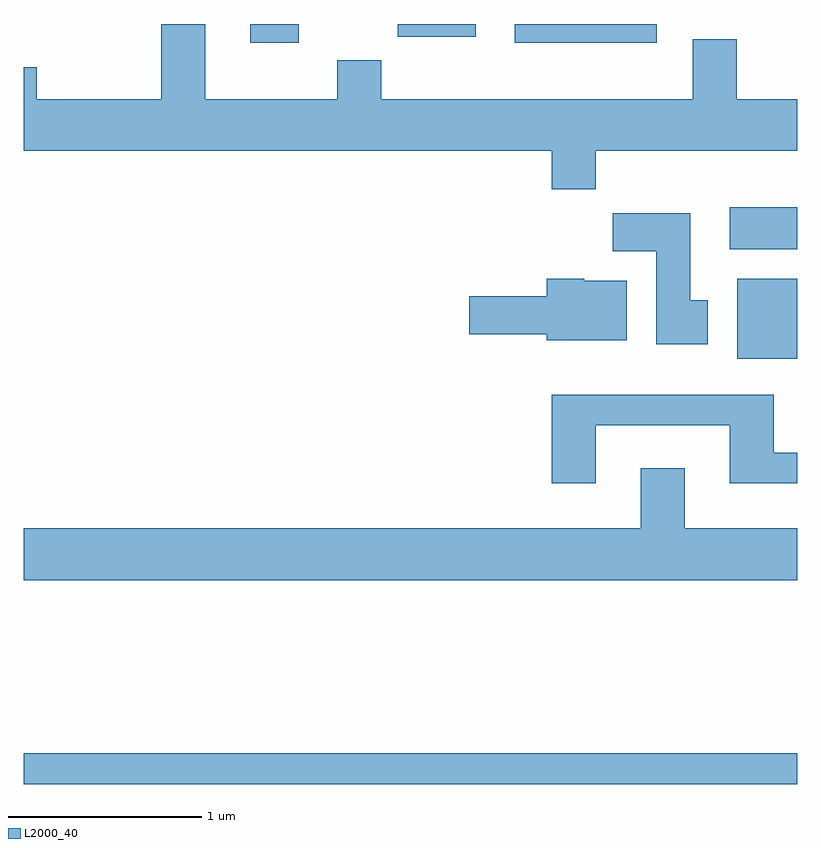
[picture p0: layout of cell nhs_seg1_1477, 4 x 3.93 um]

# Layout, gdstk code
import gdstk
lib = gdstk.Library(unit=1e-6, precision=1e-09)
def R(c, l, rs):  # rectangles x0, y0, x1, y1
    for r in rs: c.add(gdstk.rectangle(r[:2], r[2:], *l))
def P(c, l, *ps):  # polygons
    for p in ps: c.add(gdstk.Polygon(p, *l))
L2000_40 = (2000, 40)

nhs_seg1_1477 = lib.new_cell('nhs_seg1_1477')
R(nhs_seg1_1477, L2000_40, [(229.611,971.781,233.611,971.939), (233.301,973.981,233.611,974.394), (233.261,974.546,233.611,974.764), (230.781,975.616,231.034,975.712), (232.151,975.616,232.884,975.712), (231.546,975.646,231.949,975.712)])
P(nhs_seg1_1477, L2000_40, [(232.569,975.056),(233.611,975.056),(233.611,975.324),(233.299,975.324),(233.299,975.634),(233.071,975.634),(233.071,975.324),(231.459,975.324),(231.459,975.524),(231.231,975.524),(231.231,975.324),(230.549,975.324),(230.549,975.712),(230.321,975.712),(230.321,975.324),(229.679,975.324),(229.679,975.489),(229.611,975.489),(229.611,975.056),(232.341,975.056),(232.341,974.856),(232.569,974.856)],
  [(233.149,974.284),(233.059,974.284),(233.059,974.734),(232.656,974.734),(232.656,974.536),(232.881,974.536),(232.881,974.056),(233.149,974.056)],
  [(232.729,974.384),(232.51,974.384),(232.51,974.394),(232.316,974.394),(232.316,974.304),(231.916,974.304),(231.916,974.106),(232.316,974.106),(232.316,974.076),(232.729,974.076)],
  [(232.569,973.636),(233.261,973.636),(233.261,973.336),(233.611,973.336),(233.611,973.494),(233.489,973.494),(233.489,973.794),(232.341,973.794),(232.341,973.336),(232.569,973.336)],
  [(233.611,973.104),(233.029,973.104),(233.029,973.414),(232.801,973.414),(232.801,973.104),(229.611,973.104),(229.611,972.836),(233.611,972.836)])

lib.write_gds('nhs_seg1_1477.gds')
